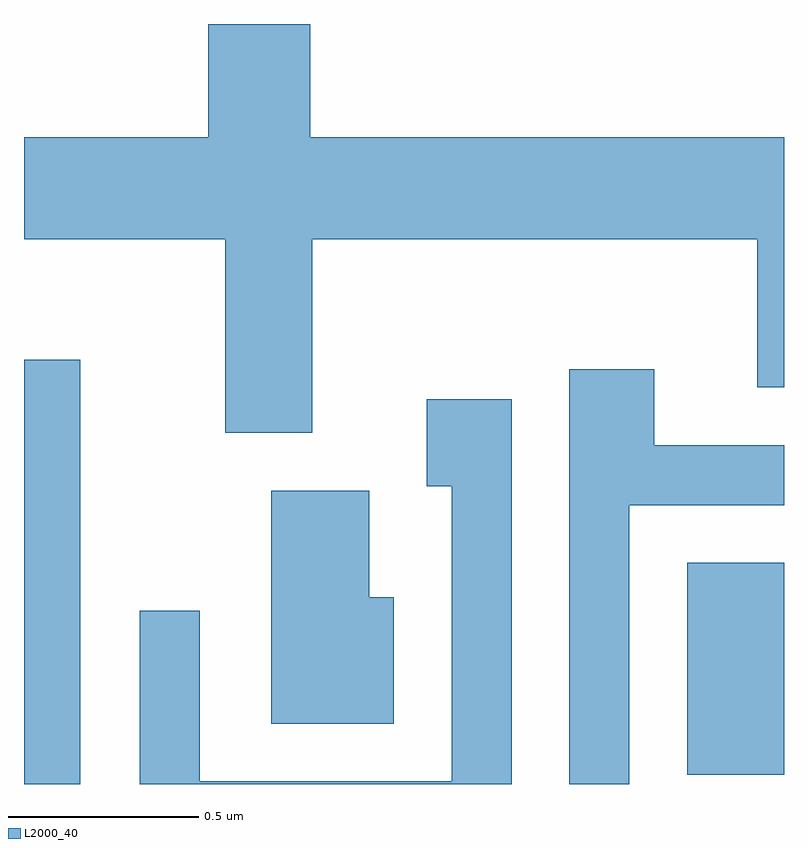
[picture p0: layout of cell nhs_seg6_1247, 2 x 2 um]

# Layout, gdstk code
import gdstk
lib = gdstk.Library(unit=1e-6, precision=1e-09)
def R(c, l, rs):  # rectangles x0, y0, x1, y1
    for r in rs: c.add(gdstk.rectangle(r[:2], r[2:], *l))
def P(c, l, *ps):  # polygons
    for p in ps: c.add(gdstk.Polygon(p, *l))
L2000_40 = (2000, 40)

nhs_seg6_1247 = lib.new_cell('nhs_seg6_1247')
R(nhs_seg6_1247, L2000_40, [(194.611,1544.162,194.759,1545.279), (196.356,1544.186,196.611,1544.744)])
P(nhs_seg6_1247, L2000_40, [(195.369,1545.596),(196.541,1545.596),(196.541,1545.206),(196.611,1545.206),(196.611,1545.864),(195.364,1545.864),(195.364,1546.162),(195.096,1546.162),(195.096,1545.864),(194.611,1545.864),(194.611,1545.596),(195.141,1545.596),(195.141,1545.086),(195.369,1545.086)],
  [(196.204,1544.896),(196.611,1544.896),(196.611,1545.054),(196.269,1545.054),(196.269,1545.254),(196.046,1545.254),(196.046,1544.162),(196.204,1544.162)],
  [(195.894,1545.174),(195.671,1545.174),(195.671,1544.946),(195.736,1544.946),(195.736,1544.169),(195.074,1544.169),(195.074,1544.618),(194.916,1544.618),(194.916,1544.162),(195.894,1544.162)],
  [(195.584,1544.654),(195.519,1544.654),(195.519,1544.934),(195.261,1544.934),(195.261,1544.321),(195.584,1544.321)])

lib.write_gds('nhs_seg6_1247.gds')
